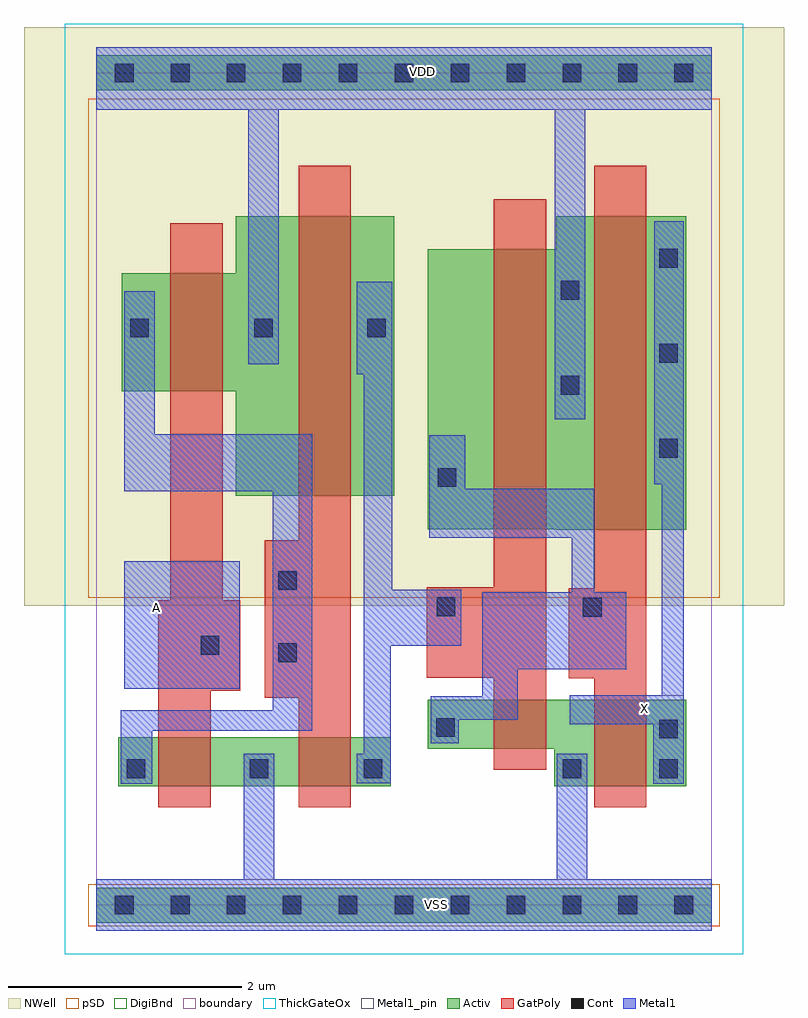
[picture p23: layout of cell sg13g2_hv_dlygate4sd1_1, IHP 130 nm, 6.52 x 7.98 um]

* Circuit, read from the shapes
.subckt sg13g2_hv_dlygate4sd1_1 A VDD VSS X
XM1 VSS A n1 VSS sg13_hv_nmos w=0.42u l=0.45u
XM2 n2 n1 VSS VSS sg13_hv_nmos w=0.42u l=0.45u
XM3 VSS n2 n3 VSS sg13_hv_nmos w=0.42u l=0.45u
XM4 X n3 VSS VSS sg13_hv_nmos w=0.74u l=0.45u
XM5 VDD A n1 VDD sg13_hv_pmos w=1.01u l=0.45u
XM6 n2 n1 VDD VDD sg13_hv_pmos w=2.4u l=0.45u
XM7 VDD n2 n3 VDD sg13_hv_pmos w=2.4u l=0.45u
XM8 X n3 VDD VDD sg13_hv_pmos w=2.69u l=0.45u
.ends

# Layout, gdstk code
import gdstk
lib = gdstk.Library(unit=1e-6, precision=1e-09)
def R(c, l, rs):  # rectangles x0, y0, x1, y1
    for r in rs: c.add(gdstk.rectangle(r[:2], r[2:], *l))
def A(c, l, x, y, w, h, nx, ny, dx, dy):  # array of equal rectangles
    R(c, l, [(x+i*dx, y+j*dy, x+i*dx+w, y+j*dy+h) for i in range(nx) for j in range(ny)])
def P(c, l, *ps):  # polygons
    for p in ps: c.add(gdstk.Polygon(p, *l))
Activ = (1, 0)
GatPoly = (5, 0)
Cont = (6, 0)
Metal1 = (8, 0)
Metal1_pin = (8, 2)
pSD = (14, 0)
DigiBnd = (16, 0)
NWell = (31, 0)
ThickGateOx = (44, 0)
boundary = (189, 4)

sg13g2_hv_dlygate4sd1_1 = lib.new_cell('sg13g2_hv_dlygate4sd1_1')
R(sg13g2_hv_dlygate4sd1_1, Activ, [(0,-0.15,5.28,0.15), (0.19,1.02,2.525,1.44), (0,6.99,5.28,7.29)])
P(sg13g2_hv_dlygate4sd1_1, Activ, [(3.93,1.02),(3.93,1.34),(2.845,1.34),(2.845,1.76),(5.06,1.76),(5.06,1.02)],
  [(3.945,3.22),(3.945,3.225),(2.845,3.225),(2.845,5.625),(3.945,5.625),(3.945,5.91),(5.06,5.91),(5.06,3.22)],
  [(1.195,3.51),(1.195,4.41),(0.22,4.41),(0.22,5.42),(1.195,5.42),(1.195,5.91),(2.555,5.91),(2.555,3.51)])
P(sg13g2_hv_dlygate4sd1_1, GatPoly, [(3.41,1.16),(3.41,1.95),(2.835,1.95),(2.835,2.725),(3.41,2.725),(3.41,6.055),(3.86,6.055),(3.86,1.16)],
  [(0.53,0.84),(0.53,2.615),(0.635,2.615),(0.635,5.85),(1.085,5.85),(1.085,2.615),(1.235,2.615),(1.235,1.84),(0.98,1.84),(0.98,0.84)],
  [(1.735,0.84),(1.735,1.78),(1.445,1.78),(1.445,3.13),(1.735,3.13),(1.735,6.345),(2.185,6.345),(2.185,0.84)],
  [(4.27,0.84),(4.27,1.945),(4.055,1.945),(4.055,2.72),(4.27,2.72),(4.27,6.345),(4.72,6.345),(4.72,0.84)])
A(sg13g2_hv_dlygate4sd1_1, Cont, 0.16, -0.08, 0.16, 0.16, 11, 2, 0.48, 7.14)
A(sg13g2_hv_dlygate4sd1_1, Cont, 4.83, 3.84, 0.16, 0.16, 1, 3, 0, 0.815)
R(sg13g2_hv_dlygate4sd1_1, Cont, [(0.26,1.09,0.42,1.25), (1.315,1.09,1.475,1.25), (2.295,1.09,2.455,1.25), (4,1.09,4.16,1.25), (4.83,1.09,4.99,1.25), (4.83,1.43,4.99,1.59), (2.915,1.445,3.075,1.605), (1.56,2.085,1.72,2.245), (0.895,2.15,1.055,2.31), (4.175,2.475,4.335,2.635), (2.92,2.48,3.08,2.64), (1.56,2.705,1.72,2.865), (2.93,3.59,3.09,3.75), (3.985,4.38,4.145,4.54), (0.29,4.87,0.45,5.03), (1.355,4.87,1.515,5.03), (2.325,4.87,2.485,5.03), (3.985,5.195,4.145,5.355)])
R(sg13g2_hv_dlygate4sd1_1, Metal1, [(4.06,1.55,5.04,1.8), (0.24,1.855,1.23,2.95)])
P(sg13g2_hv_dlygate4sd1_1, Metal1, [(2.87,1.39),(2.87,1.79),(3.31,1.79),(3.31,2.685),(4.08,2.685),(4.08,3.15),(2.855,3.15),(2.855,4.03),(3.165,4.03),(3.165,3.57),(4.27,3.57),(4.27,2.685),(4.545,2.685),(4.545,2.025),(3.615,2.025),(3.615,1.59),(3.11,1.59),(3.11,1.39)],
  [(4.78,1.04),(4.78,1.8),(4.85,1.8),(4.85,3.61),(4.785,3.61),(4.785,5.865),(5.04,5.865),(5.04,1.04)],
  [(2.235,1.045),(2.235,1.3),(2.295,1.3),(2.295,4.555),(2.235,4.555),(2.235,5.35),(2.54,5.35),(2.54,2.705),(3.13,2.705),(3.13,2.225),(2.525,2.225),(2.525,1.045)],
  [(0.21,1.04),(0.21,1.67),(1.515,1.67),(1.515,3.55),(0.24,3.55),(0.24,5.265),(0.5,5.265),(0.5,4.04),(1.855,4.04),(1.855,1.495),(0.48,1.495),(0.48,1.04)],
  [(3.935,4.17),(3.935,6.825),(1.565,6.825),(1.565,4.64),(1.305,4.64),(1.305,6.825),(0,6.825),(0,7.36),(5.28,7.36),(5.28,6.825),(4.195,6.825),(4.195,4.17)],
  [(0,-0.22),(0,0.22),(1.265,0.22),(1.265,1.3),(1.525,1.3),(1.525,0.22),(3.95,0.22),(3.95,1.3),(4.21,1.3),(4.21,0.22),(5.28,0.22),(5.28,-0.22)])
R(sg13g2_hv_dlygate4sd1_1, Metal1_pin, [(0,-0.22,5.28,0.22), (4.06,1.55,5.04,1.8), (0.24,1.855,1.23,2.95), (0,6.825,5.28,7.36)])
R(sg13g2_hv_dlygate4sd1_1, pSD, [(-0.07,-0.18,5.35,0.18), (-0.07,2.635,5.35,6.92)])
R(sg13g2_hv_dlygate4sd1_1, DigiBnd, [(0,0,5.28,7.14)])
R(sg13g2_hv_dlygate4sd1_1, NWell, [(-0.62,2.57,5.9,7.53)])
R(sg13g2_hv_dlygate4sd1_1, ThickGateOx, [(-0.27,-0.42,5.55,7.56)])
R(sg13g2_hv_dlygate4sd1_1, boundary, [(0,0,5.28,7.14)])
sg13g2_hv_dlygate4sd1_1.add(gdstk.Label('X', (4.7,1.69), layer=8, texttype=25))
sg13g2_hv_dlygate4sd1_1.add(gdstk.Label('VDD', (2.8,7.15), layer=8, texttype=25))
sg13g2_hv_dlygate4sd1_1.add(gdstk.Label('VSS', (2.915,0.005), layer=8, texttype=25))
sg13g2_hv_dlygate4sd1_1.add(gdstk.Label('A', (0.52,2.555), layer=8, texttype=25))

lib.write_gds('sg13g2_hv_dlygate4sd1_1.gds')
